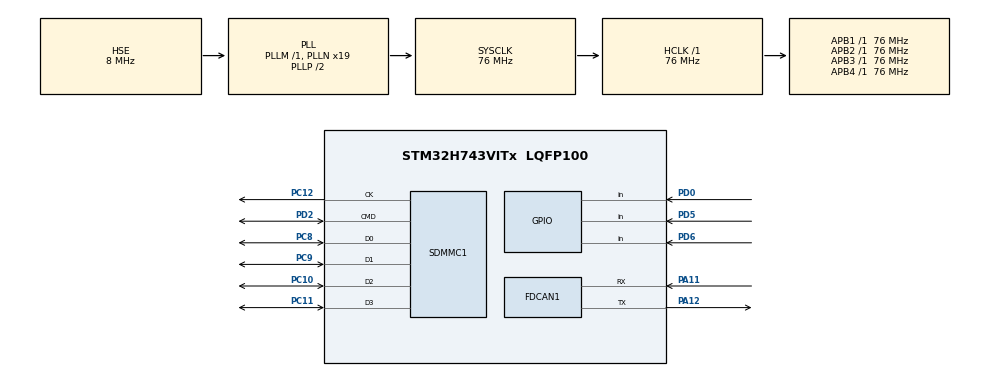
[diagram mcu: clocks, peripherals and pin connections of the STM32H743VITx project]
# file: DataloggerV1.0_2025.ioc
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FATFS.BSP.number=1
FATFS._CODE_PAGE=437
FATFS0.BSP.STBoard=false
FATFS0.BSP.api=Unknown
FATFS0.BSP.instance=PD0
FATFS0.BSP.ip=GPIO
FATFS0.BSP.mode=Input
FATFS0.BSP.name=Detect_SDIO
FATFS0.BSP.solution=PD0
FDCAN1.CalculateBaudRateNominal=500000
FDCAN1.CalculateTimeBitNominal=2000
FDCAN1.CalculateTimeQuantumNominal=125.0
FDCAN1.DataPrescaler=1
FDCAN1.DataSyncJumpWidth=2
FDCAN1.DataTimeSeg1=13
FDCAN1.DataTimeSeg2=2
FDCAN1.NominalPrescaler=1
FDCAN1.NominalSyncJumpWidth=2
FDCAN1.NominalTimeSeg1=13
FDCAN1.NominalTimeSeg2=2
FDCAN1.RxBuffersNbr=32
FDCAN1.RxFifo0ElmtsNbr=32
FDCAN1.RxFifo1ElmtsNbr=32
FDCAN1.StdFiltersNbr=2
FDCAN1.TxBuffersNbr=32
FDCAN1.TxEventsNbr=32
FDCAN1.TxFifoQueueElmtsNbr=32
Mcu.Family=STM32H7
Mcu.Name=STM32H743VITx
Mcu.Package=LQFP100
NVIC.FDCAN1_IT0_IRQn=true\:0\:0\:false\:false\:true\:true\:true\:true
NVIC.FDCAN1_IT1_IRQn=true\:0\:0\:false\:false\:true\:true\:true\:true
NVIC.PriorityGroup=NVIC_PRIORITYGROUP_4
PA11.Mode=FDCAN_Activate
PA11.Signal=FDCAN1_RX
PA12.Mode=FDCAN_Activate
PA12.Signal=FDCAN1_TX
PC10.Mode=SD_4_bits_Wide_bus
PC10.Signal=SDMMC1_D2
PC11.Mode=SD_4_bits_Wide_bus
PC11.Signal=SDMMC1_D3
PC12.Mode=SD_4_bits_Wide_bus
PC12.Signal=SDMMC1_CK
PC8.Mode=SD_4_bits_Wide_bus
PC8.Signal=SDMMC1_D0
PC9.Mode=SD_4_bits_Wide_bus
PC9.Signal=SDMMC1_D1
PD0.Signal=GPIO_Input
PD2.Mode=SD_4_bits_Wide_bus
PD2.Signal=SDMMC1_CMD
PD5.Signal=GPIO_Input
PD6.Signal=GPIO_Input
PH0-OSC_IN\ (PH0).Mode=HSE-External-Oscillator
PH0-OSC_IN\ (PH0).Signal=RCC_OSC_IN
PH1-OSC_OUT\ (PH1).Mode=HSE-External-Oscillator
PH1-OSC_OUT\ (PH1).Signal=RCC_OSC_OUT
ProjectManager.HeapSize=0x200
ProjectManager.StackSize=0x400
ProjectManager.TargetToolchain=STM32CubeIDE
RCC.ADCFreq_Value=16125000
RCC.APB1Freq_Value=76000000
RCC.APB2Freq_Value=76000000
RCC.APB3Freq_Value=76000000
RCC.APB4Freq_Value=76000000
RCC.CortexFreq_Value=76000000
RCC.DIVM1=1
RCC.DIVN1=19
RCC.DIVQ1=19
RCC.HCLKFreq_Value=76000000
RCC.HSE_VALUE=8000000
RCC.PLL2FRACN=0
RCC.PLL3FRACN=0
RCC.PLLFRACN=0
RCC.PLLSourceVirtual=RCC_PLLSOURCE_HSE
RCC.SYSCLKFreq_VALUE=76000000
RCC.SYSCLKSource=RCC_SYSCLKSOURCE_PLLCLK
RCC.USBFreq_Value=8000000
TIM1.Prescaler=2-1
VP_FATFS_VS_SDIO.Mode=SDIO
VP_TIM1_VS_ClockSourceINT.Mode=Internal
board=custom

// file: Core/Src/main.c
/* USER CODE BEGIN Header */
/**
  ******************************************************************************
  * @file           : main.c
  * @brief          : Main program body
  ******************************************************************************
  * @attention
  *
  * Copyright (c) 2024 STMicroelectronics.
  * All rights reserved.
  *
  * This software is licensed under terms that can be found in the LICENSE file
  * in the root directory of this software component.
  * If no LICENSE file comes with this software, it is provided AS-IS.
  *
  ******************************************************************************
  */
/* USER CODE END Header */
#include "main.h"
#include "fatfs.h"

/* USER CODE BEGIN Includes */
#include "fatfs.h"
#include <stdio.h>
#include <string.h>

/* USER CODE END Includes */

/* USER CODE BEGIN PTD */

typedef struct{
	uint16_t data[4];

} Rx_Can_t;

/* USER CODE END PTD */

/* USER CODE BEGIN PD */

#define ENUMERA_IDS 101

/* USER CODE END PD */

FDCAN_HandleTypeDef hfdcan1;

FDCAN_FilterTypeDef filtercan;

SD_HandleTypeDef hsd1;

TIM_HandleTypeDef htim1;

/* USER CODE BEGIN PV */

FDCAN_RxHeaderTypeDef rxHeader;

/* USER CODE END PV */

void SystemClock_Config(void);
static void MX_GPIO_Init(void);
static void MX_FDCAN1_Init(void);
static void MX_SDMMC1_SD_Init(void);
static void MX_TIM1_Init(void);
static void TIMER_init(void);
static void CAN_init(void);

/* USER CODE BEGIN 0 */

uint32_t id;
uint8_t j = 0;
Rx_Can_t CAN_local_data[53];
uint8_t RxBuffer[4];

char redSD[] = "exemplo"; // return value for sd
char SDPath[]; // sd logical drive path
char buffer[100];
FATFS SDFatFS; // file system object for sd logical driver
FIL SDFile; // file object for sd
UINT *testByte;

/* USER CODE END 0 */

int main(void)
{
  /* USER CODE BEGIN 1 */
	void CAN_init(void){
		if(HAL_FDCAN_Init(&hfdcan1) != HAL_OK){
			Error_Handler();
		}
		if(HAL_FDCAN_ActivateNotification(&hfdcan1, FDCAN_IT_RX_BUFFER_NEW_MESSAGE, 0) != HAL_OK){
			Error_Handler();
		}
		if(HAL_FDCAN_Start(&hfdcan1) != HAL_OK){
			Error_Handler();
		}

	}

	void TIMER_init(){

		  if (HAL_TIM_Base_Init(&htim1) != HAL_OK)
		  {
		    /* Initialization Error */
		    Error_Handler();
		  }

		  /*##-2- Start the TIM Base generation in interrupt mode ####################*/
		  /* Start Channel1 */
		  if (HAL_TIM_Base_Start_IT(&htim1) != HAL_OK)
		  {
		    /* Starting Error */
		    Error_Handler();
		  }
	}

  /* USER CODE END 1 */

  /* MCU Configuration--------------------------------------------------------*/

  /* Reset of all peripherals, Initializes the Flash interface and the Systick. */
  HAL_Init();

  /* Configure the system clock */
  SystemClock_Config();

  /* Initialize all configured peripherals */
  MX_GPIO_Init();
  MX_FDCAN1_Init();
  MX_SDMMC1_SD_Init();
  MX_FATFS_Init();
  MX_TIM1_Init();
  /* USER CODE BEGIN 2 */

  CAN_init();

  TIMER_init();

  f_mount(&SDFatFS, SDPath, 1);
  f_open(&SDFile, "Arquivo.csv", FA_READ | FA_WRITE);
  sprintf(buffer,  "ECU_TIMER,STEERING_WHEEL,THROTTLE");
  f_write(&SDFile, buffer, strlen(buffer), testByte);
  f_close(&SDFile);

  /* USER CODE END 2 */

  /* Infinite loop */
  while (1)
  {

  }
}

void CAN_init(void){
	if(HAL_FDCAN_Init(&hfdcan1) != HAL_OK){
		Error_Handler();
	}
	if(HAL_FDCAN_ActivateNotification(&hfdcan1, FDCAN_IT_RX_BUFFER_NEW_MESSAGE, 0) != HAL_OK){
		Error_Handler();
	}
	if(HAL_FDCAN_Start(&hfdcan1) != HAL_OK){
		Error_Handler();
	}

}

void TIMER_init(void){

	  if (HAL_TIM_Base_Init(&htim1) != HAL_OK)
	  {
	    /* Initialization Error */
	    Error_Handler();
	  }

	  /*##-2- Start the TIM Base generation in interrupt mode ####################*/
	  /* Start Channel1 */
	  if (HAL_TIM_Base_Start_IT(&htim1) != HAL_OK)
	  {
	    /* Starting Error */
	    Error_Handler();
	  }
}

//Configurado para realizar uma interupção a cada 1 segundo
void HAL_TIM_PeriodElapsedCallback(TIM_HandleTypeDef *htim)
{

	f_open(&SDFile, SDPath, FA_READ | FA_WRITE);
	sprintf(buffer,"\r\n%d,%d,%d", CAN_local_data[1].data[1], CAN_local_data[1].data[2], CAN_local_data[1].data[3]);
	f_write(&SDFile, buffer, strlen(buffer), testByte);
	f_close(&SDFile);
}

void HAL_FDCAN_RxFifo0Callback(FDCAN_HandleTypeDef *hfdcan, uint32_t RxFifo0ITs)
{

	if(HAL_FDCAN_GetRxMessage(&hfdcan1, FDCAN_RX_FIFO0, &rxHeader, RxBuffer) != HAL_OK){
		Error_Handler();
	}
	for(int i = 0; i < 4; i++){
	CAN_local_data[rxHeader.Identifier].data[i] = RxBuffer[i];
	}
}

void SystemClock_Config(void)
{
  RCC_OscInitTypeDef RCC_OscInitStruct = {0};
  RCC_ClkInitTypeDef RCC_ClkInitStruct = {0};

  /** Supply configuration update enable
  */
  HAL_PWREx_ConfigSupply(PWR_LDO_SUPPLY);

  /** Configure the main internal regulator output voltage
  */
  __HAL_PWR_VOLTAGESCALING_CONFIG(PWR_REGULATOR_VOLTAGE_SCALE3);

  while(!__HAL_PWR_GET_FLAG(PWR_FLAG_VOSRDY)) {}

  /** Initializes the RCC Oscillators according to the specified parameters
  * in the RCC_OscInitTypeDef structure.
  */
  RCC_OscInitStruct.OscillatorType = RCC_OSCILLATORTYPE_HSE;
  RCC_OscInitStruct.HSEState = RCC_HSE_ON;
  RCC_OscInitStruct.PLL.PLLState = RCC_PLL_ON;
  RCC_OscInitStruct.PLL.PLLSource = RCC_PLLSOURCE_HSE;
  RCC_OscInitStruct.PLL.PLLM = 1;
  RCC_OscInitStruct.PLL.PLLN = 19;
  RCC_OscInitStruct.PLL.PLLP = 2;
  RCC_OscInitStruct.PLL.PLLQ = 19;
  RCC_OscInitStruct.PLL.PLLR = 2;
  RCC_OscInitStruct.PLL.PLLRGE = RCC_PLL1VCIRANGE_3;
  RCC_OscInitStruct.PLL.PLLVCOSEL = RCC_PLL1VCOMEDIUM;
  RCC_OscInitStruct.PLL.PLLFRACN = 0;
  if (HAL_RCC_OscConfig(&RCC_OscInitStruct) != HAL_OK)
  {
    Error_Handler();
  }

  /** Initializes the CPU, AHB and APB buses clocks
  */
  RCC_ClkInitStruct.ClockType = RCC_CLOCKTYPE_HCLK|RCC_CLOCKTYPE_SYSCLK
                              |RCC_CLOCKTYPE_PCLK1|RCC_CLOCKTYPE_PCLK2
                              |RCC_CLOCKTYPE_D3PCLK1|RCC_CLOCKTYPE_D1PCLK1;
  RCC_ClkInitStruct.SYSCLKSource = RCC_SYSCLKSOURCE_PLLCLK;
  RCC_ClkInitStruct.SYSCLKDivider = RCC_SYSCLK_DIV1;
  RCC_ClkInitStruct.AHBCLKDivider = RCC_HCLK_DIV1;
  RCC_ClkInitStruct.APB3CLKDivider = RCC_APB3_DIV1;
  RCC_ClkInitStruct.APB1CLKDivider = RCC_APB1_DIV1;
  RCC_ClkInitStruct.APB2CLKDivider = RCC_APB2_DIV1;
  RCC_ClkInitStruct.APB4CLKDivider = RCC_APB4_DIV1;

  if (HAL_RCC_ClockConfig(&RCC_ClkInitStruct, FLASH_LATENCY_1) != HAL_OK)
  {
    Error_Handler();
  }
}

static void MX_FDCAN1_Init(void)
{

  hfdcan1.Instance = FDCAN1;
  hfdcan1.Init.FrameFormat = FDCAN_FRAME_CLASSIC;
  hfdcan1.Init.Mode = FDCAN_MODE_NORMAL;
  hfdcan1.Init.AutoRetransmission = DISABLE;
  hfdcan1.Init.TransmitPause = DISABLE;
  hfdcan1.Init.ProtocolException = DISABLE;
  hfdcan1.Init.NominalPrescaler = 1;
  hfdcan1.Init.NominalSyncJumpWidth = 2;
  hfdcan1.Init.NominalTimeSeg1 = 13;
  hfdcan1.Init.NominalTimeSeg2 = 2;
  hfdcan1.Init.DataPrescaler = 1;
  hfdcan1.Init.DataSyncJumpWidth = 2;
  hfdcan1.Init.DataTimeSeg1 = 13;
  hfdcan1.Init.DataTimeSeg2 = 2;
  hfdcan1.Init.MessageRAMOffset = 0;
  hfdcan1.Init.StdFiltersNbr = 2;
  hfdcan1.Init.ExtFiltersNbr = 0;
  hfdcan1.Init.RxFifo0ElmtsNbr = 32;
  hfdcan1.Init.RxFifo0ElmtSize = FDCAN_DATA_BYTES_8;
  hfdcan1.Init.RxFifo1ElmtsNbr = 32;
  hfdcan1.Init.RxFifo1ElmtSize = FDCAN_DATA_BYTES_8;
  hfdcan1.Init.RxBuffersNbr = 32;
  hfdcan1.Init.RxBufferSize = FDCAN_DATA_BYTES_8;
  hfdcan1.Init.TxEventsNbr = 32;
  hfdcan1.Init.TxBuffersNbr = 32;
  hfdcan1.Init.TxFifoQueueElmtsNbr = 32;
  hfdcan1.Init.TxFifoQueueMode = FDCAN_TX_FIFO_OPERATION;
  hfdcan1.Init.TxElmtSize = FDCAN_DATA_BYTES_8;
  if (HAL_FDCAN_Init(&hfdcan1) != HAL_OK)
  {
    Error_Handler();
  }
  /* USER CODE BEGIN FDCAN1_Init 2 */

  //Configuracao filtro de entrada da rede CAN
  filtercan.IdType = FDCAN_STANDARD_ID;
  filtercan.FilterIndex = 0;
  filtercan.FilterType = FDCAN_FILTER_RANGE;
  filtercan.FilterConfig = FDCAN_FILTER_TO_RXFIFO0;
  filtercan.FilterID1 = 0x65; // faixa de ids recebidos da ECU (de 101(0x65) a 113(0x71))
  filtercan.FilterID2 = 0x71;
  filtercan.RxBufferIndex = 0;
  filtercan.IsCalibrationMsg = 0;

  HAL_FDCAN_ConfigFilter(&hfdcan1, &filtercan);

  /* USER CODE END FDCAN1_Init 2 */

}

static void MX_SDMMC1_SD_Init(void)
{

  hsd1.Instance = SDMMC1;
  hsd1.Init.ClockEdge = SDMMC_CLOCK_EDGE_RISING;
  hsd1.Init.ClockPowerSave = SDMMC_CLOCK_POWER_SAVE_DISABLE;
  hsd1.Init.BusWide = SDMMC_BUS_WIDE_4B;
  hsd1.Init.HardwareFlowControl = SDMMC_HARDWARE_FLOW_CONTROL_DISABLE;
  hsd1.Init.ClockDiv = 0;

}

static void MX_TIM1_Init(void)
{

  TIM_ClockConfigTypeDef sClockSourceConfig = {0};
  TIM_MasterConfigTypeDef sMasterConfig = {0};

  htim1.Instance = TIM1;
  htim1.Init.Prescaler = 2-1;
  htim1.Init.CounterMode = TIM_COUNTERMODE_UP;
  htim1.Init.Period = 65535;
  htim1.Init.ClockDivision = TIM_CLOCKDIVISION_DIV1;
  htim1.Init.RepetitionCounter = 0;
  htim1.Init.AutoReloadPreload = TIM_AUTORELOAD_PRELOAD_DISABLE;
  if (HAL_TIM_Base_Init(&htim1) != HAL_OK)
  {
    Error_Handler();
  }
  sClockSourceConfig.ClockSource = TIM_CLOCKSOURCE_INTERNAL;
  if (HAL_TIM_ConfigClockSource(&htim1, &sClockSourceConfig) != HAL_OK)
  {
    Error_Handler();
  }
  sMasterConfig.MasterOutputTrigger = TIM_TRGO_RESET;
  sMasterConfig.MasterOutputTrigger2 = TIM_TRGO2_RESET;
  sMasterConfig.MasterSlaveMode = TIM_MASTERSLAVEMODE_DISABLE;
  if (HAL_TIMEx_MasterConfigSynchronization(&htim1, &sMasterConfig) != HAL_OK)
  {
    Error_Handler();
  }

}

static void MX_GPIO_Init(void)
{
  GPIO_InitTypeDef GPIO_InitStruct = {0};

  /* GPIO Ports Clock Enable */
  __HAL_RCC_GPIOH_CLK_ENABLE();
  __HAL_RCC_GPIOC_CLK_ENABLE();
  __HAL_RCC_GPIOA_CLK_ENABLE();
  __HAL_RCC_GPIOD_CLK_ENABLE();

  /*Configure GPIO pins : PD0 PD5 PD6 */
  GPIO_InitStruct.Pin = GPIO_PIN_0|GPIO_PIN_5|GPIO_PIN_6;
  GPIO_InitStruct.Mode = GPIO_MODE_INPUT;
  GPIO_InitStruct.Pull = GPIO_NOPULL;
  HAL_GPIO_Init(GPIOD, &GPIO_InitStruct);

}

void Error_Handler(void)
{
}
